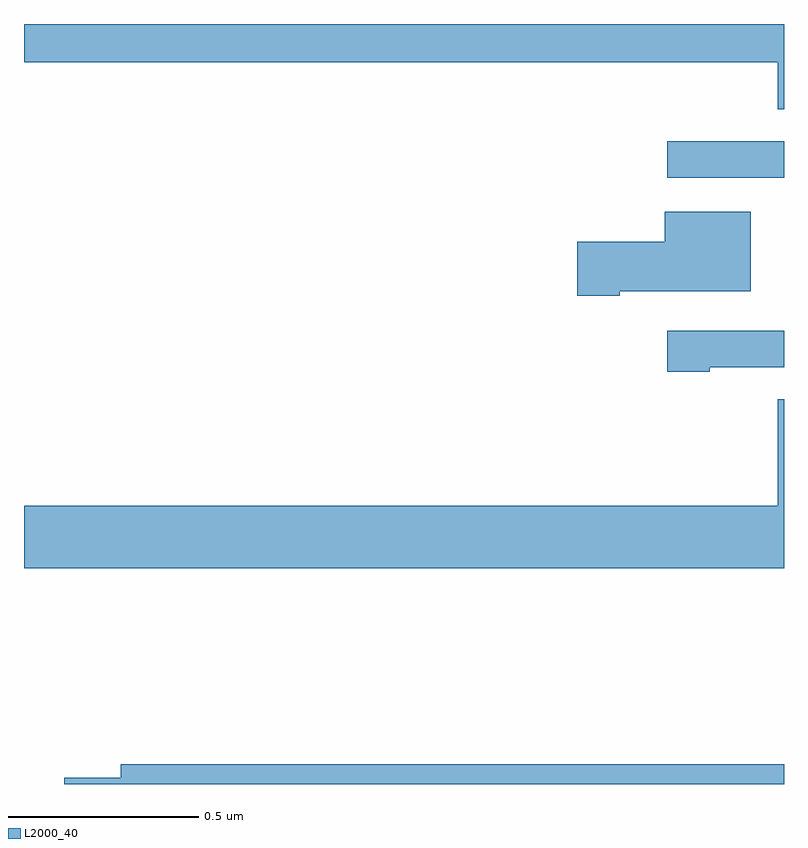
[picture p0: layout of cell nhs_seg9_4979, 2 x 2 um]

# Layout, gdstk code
import gdstk
lib = gdstk.Library(unit=1e-6, precision=1e-09)
def R(c, l, rs):  # rectangles x0, y0, x1, y1
    for r in rs: c.add(gdstk.rectangle(r[:2], r[2:], *l))
def P(c, l, *ps):  # polygons
    for p in ps: c.add(gdstk.Polygon(p, *l))
L2000_40 = (2000, 40)

nhs_seg9_4979 = lib.new_cell('nhs_seg9_4979')
R(nhs_seg9_4979, L2000_40, [(174.693,1216.095,175,1216.191)])
P(nhs_seg9_4979, L2000_40, [(175,1216.5),(173,1216.5),(173,1216.4),(174.983,1216.4),(174.983,1216.276),(175,1216.276)],
  [(174.568,1215.797),(174.913,1215.797),(174.913,1216.006),(174.686,1216.006),(174.686,1215.927),(174.456,1215.927),(174.456,1215.785),(174.568,1215.785)],
  [(174.805,1215.597),(175,1215.597),(175,1215.693),(174.693,1215.693),(174.693,1215.585),(174.805,1215.585)],
  [(175,1215.512),(174.983,1215.512),(174.983,1215.232),(173,1215.232),(173,1215.068),(175,1215.068)],
  [(175,1214.552),(173.255,1214.552),(173.255,1214.516),(173.106,1214.516),(173.106,1214.5),(175,1214.5)])

lib.write_gds('nhs_seg9_4979.gds')
